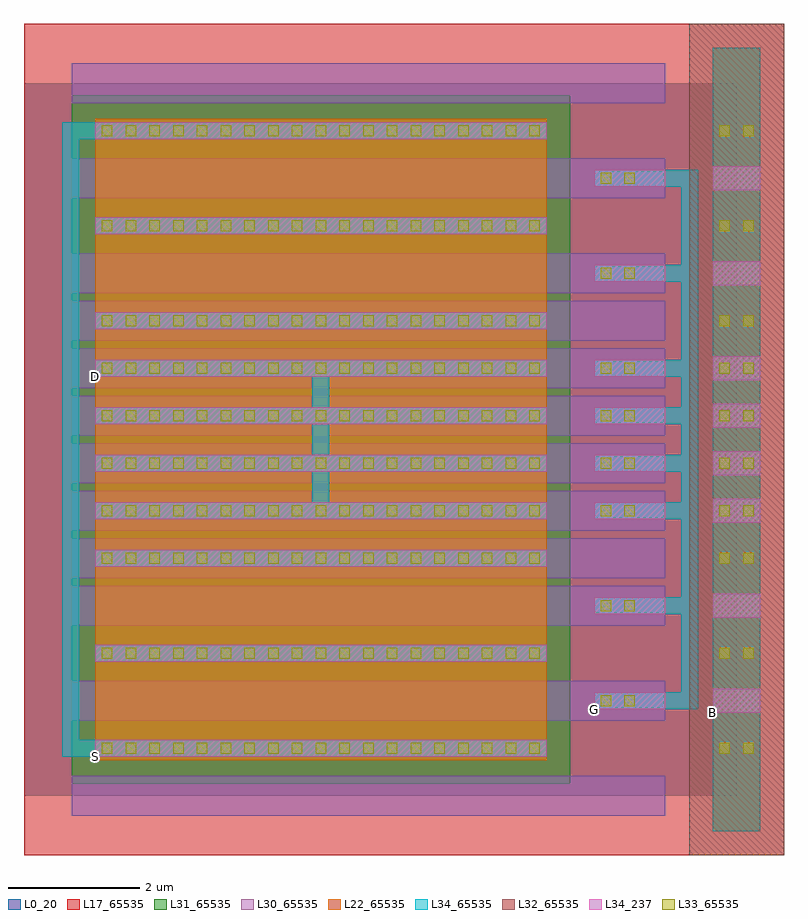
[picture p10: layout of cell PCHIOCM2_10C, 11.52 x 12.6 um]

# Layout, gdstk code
import gdstk
lib = gdstk.Library(unit=1e-6, precision=1e-09)
def R(c, l, rs):  # rectangles x0, y0, x1, y1
    for r in rs: c.add(gdstk.rectangle(r[:2], r[2:], *l))
def A(c, l, x, y, w, h, nx, ny, dx, dy):  # array of equal rectangles
    R(c, l, [(x+i*dx, y+j*dy, x+i*dx+w, y+j*dy+h) for i in range(nx) for j in range(ny)])
L0_20 = (0, 20)
L17_65535 = (17, 65535)
L22_65535 = (22, 65535)
L30_65535 = (30, 65535)
L31_65535 = (31, 65535)
L32_65535 = (32, 65535)
L33_65535 = (33, 65535)
L34_237 = (34, 237)
L34_65535 = (34, 65535)

pchio_10c = lib.new_cell('PCHIO_10C')
R(pchio_10c, L0_20, [(0,0,10.8,2.88)])
R(pchio_10c, L17_65535, [(0,-0.9,11.52,3.78)])
A(pchio_10c, L22_65535, 10.44, -0.54, 0.72, 0.36, 1, 11, 0, 0.36)
A(pchio_10c, L22_65535, 1.08, 0.54, 6.84, 0.36, 1, 5, 0, 0.36)
A(pchio_10c, L30_65535, 0.72, -0.3, 9, 0.6, 1, 3, 0, 1.44)
R(pchio_10c, L31_65535, [(0.72,0.18,8.28,2.7)])
R(pchio_10c, L32_65535, [(10.08,-0.9,11.52,3.78)])
A(pchio_10c, L33_65535, 1.18, 0.64, 0.16, 0.16, 19, 2, 0.36, 1.44)
R(pchio_10c, L33_65535, [(10.54,0.64,10.7,0.8), (10.9,0.64,11.06,0.8), (8.74,1.36,8.9,1.52), (9.1,1.36,9.26,1.52), (10.54,2.08,10.7,2.24), (10.9,2.08,11.06,2.24)])
R(pchio_10c, L34_237, [(1.08,0.59,7.92,0.85), (10.44,1.26,11.16,1.62), (8.64,1.31,9.72,1.57), (1.08,2.03,7.92,2.29)])
A(pchio_10c, L34_65535, 10.44, -0.54, 0.72, 0.36, 1, 11, 0, 0.36)
R(pchio_10c, L34_65535, [(1.08,0.59,7.92,0.85), (8.64,1.31,9.72,1.57), (1.08,2.03,7.92,2.29)])
pchio_10c.add(gdstk.Label('G', (8.64,1.31), layer=34, texttype=237))
pchio_10c.add(gdstk.Label('S', (1.08,0.59), layer=34, texttype=237))
pchio_10c.add(gdstk.Label('B', (10.44,1.26), layer=34, texttype=237))
pchio_10c.add(gdstk.Label('D', (1.08,2.03), layer=34, texttype=237))

pchiocm_10c = lib.new_cell('PCHIOCM_10C')
R(pchiocm_10c, L0_20, [(0,0,10.8,7.2)])
R(pchiocm_10c, L34_237, [(1.08,0.59,7.92,0.85), (8.64,1.31,9.72,1.57), (1.08,6.35,7.92,6.61)])
A(pchiocm_10c, L34_65535, 9.18, 1.31, 0.78, 0.26, 1, 4, 0, 1.44)
R(pchiocm_10c, L34_65535, [(9.96,1.31,10.22,5.89)])
pchiocm_10c.add(gdstk.Reference(pchio_10c, (0,0)))
pchiocm_10c.add(gdstk.Reference(pchio_10c, (0,1.44)))
pchiocm_10c.add(gdstk.Reference(pchio_10c, (0,2.88)))
pchiocm_10c.add(gdstk.Reference(pchio_10c, (0,4.32)))
pchiocm_10c.add(gdstk.Label('G', (8.64,1.31), layer=58, texttype=65535))
pchiocm_10c.add(gdstk.Label('D', (1.08,6.35), layer=34, texttype=237))
pchiocm_10c.add(gdstk.Label('G', (8.64,1.31), layer=34, texttype=237))
pchiocm_10c.add(gdstk.Label('S', (1.08,0.59), layer=34, texttype=237))

pchiocm2_10c = lib.new_cell('PCHIOCM2_10C')
R(pchiocm2_10c, L0_20, [(0,0,10.8,10.8)])
R(pchiocm2_10c, L34_237, [(1.08,0.59,7.92,0.85), (10.44,1.26,11.16,1.62), (8.64,1.31,9.72,1.57), (1.08,6.35,7.92,6.61)])
R(pchiocm2_10c, L34_65535, [(0.58,0.59,4.5,0.85), (0.58,0.59,0.84,10.21), (9.18,1.31,9.96,1.57), (9.96,1.31,10.22,5.17), (4.37,4.19,4.63,6.61), (9.18,4.91,9.96,5.17), (0.58,9.95,4.5,10.21)])
pchiocm2_10c.add(gdstk.Reference(pchiocm_10c, (0,0)))
pchiocm2_10c.add(gdstk.Reference(pchiocm_10c, (0,3.6)))
pchiocm2_10c.add(gdstk.Label('S', (1.08,0.59), layer=58, texttype=65535))
pchiocm2_10c.add(gdstk.Label('G', (8.64,1.31), layer=58, texttype=65535))
pchiocm2_10c.add(gdstk.Label('D', (1.08,6.35), layer=58, texttype=65535))
pchiocm2_10c.add(gdstk.Label('B', (10.44,1.26), layer=34, texttype=237))
pchiocm2_10c.add(gdstk.Label('D', (1.08,6.35), layer=34, texttype=237))
pchiocm2_10c.add(gdstk.Label('G', (8.64,1.31), layer=34, texttype=237))
pchiocm2_10c.add(gdstk.Label('S', (1.08,0.59), layer=34, texttype=237))

lib.write_gds('PCHIOCM2_10C.gds')
